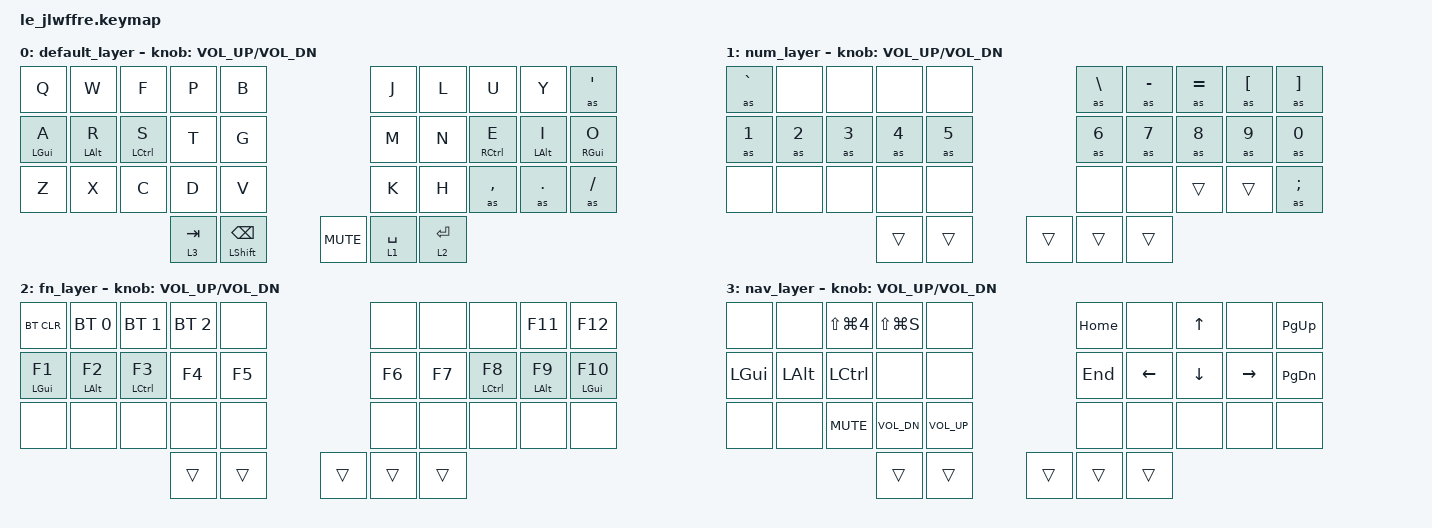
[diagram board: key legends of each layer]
/*
 * Copyright (c) 2022 The ZMK Contributors
 *
 * SPDX-License-Identifier: MIT
 */

#include <behaviors.dtsi>
#include <dt-bindings/zmk/keys.h>
#include <dt-bindings/zmk/bt.h>

/ {
    behaviors {
        ht: hold_tap {
            compatible = "zmk,behavior-hold-tap";
            #binding-cells = <2>;
            flavor = "balanced";
            tapping-term-ms = <200>;
            quick-tap-ms = <220>;
            require-prior-idle-ms = <125>;
            bindings = <&kp>, <&kp>;
        };
        mt: mod_tap {
            #binding-cells = <2>;
            tapping-term-ms = <200>;
            quick-tap-ms = <220>;
            require-prior-idle-ms = <125>;
            bindings = <&kp>, <&kp>;
        };
        as_ht: autoshift_hold_tap {
            compatible = "zmk,behavior-hold-tap";
            #binding-cells = <2>;
            tapping-term-ms = <200>;
            bindings = <&shifted>, <&kp>;
            /*bindings = <&kp>, <&kp>;*/
            flavor = "tap-preferred";
        };

        combos {
            compatible = "zmk,combos";
            combo_esc {
                timeout-ms = <50>;
                key-positions = <0 1>;
                bindings = <&kp ESC>;
            };
            combo_del {
                timeout-ms = <50>;
                key-positions = <8 9>;
                bindings = <&kp DEL>;
            };
            combo_reset {
                timeout-ms = <50>;
                key-positions = <0 9>;
                layers = <2>;
                bindings = <&sys_reset>;
            };
            combo_boot {
                timeout-ms = <50>;
                key-positions = <5 20>;
                layers = <2>;
                bindings = <&bootloader>;
            };
        };
    };

    macros {
        shifted: macro_shifted_kp {
            #binding-cells = <1>;
            compatible = "zmk,behavior-macro-one-param";
            bindings =
              <&macro_press &kp LSHFT>,
              <&macro_param_1to1 &macro_tap &kp MACRO_PLACEHOLDER>,
              <&macro_release &kp LSHFT>;
        };
        as: autoshift {
            compatible = "zmk,behavior-macro-one-param";
            #binding-cells = <1>;
            bindings =
              <&macro_press>,
              <&macro_param_1to1>,
              <&macro_param_1to2>,
              <&as_ht MACRO_PLACEHOLDER MACRO_PLACEHOLDER>,
              <&macro_pause_for_release>,
              <&macro_release>,
              <&macro_param_1to1>,
              <&macro_param_1to2>,
              <&as_ht MACRO_PLACEHOLDER MACRO_PLACEHOLDER>;
        };
    };

    keymap {
        compatible = "zmk,keymap";
        default_layer {
            bindings = <
        //╭──────────┬──────────┬──────────┬──────────┬──────────╮                      ╭──────────┬──────────┬──────────┬──────────┬──────────╮
        //│  Q       │  W       │  F       │  P       │  B       │                      │  J       │  L       │  U       │  Y       │ ' "      │
            &kp Q      &kp W      &kp F      &kp P      &kp B                             &kp J      &kp L      &kp U      &kp Y      &as SQT
        //├──────────┼──────────┼──────────┼──────────┼──────────┤                      ├──────────┼──────────┼──────────┼──────────┼──────────┤
        //│  A       │  R       │  S       │  T       │  G       │                      │  M       │  N       │  E       │  I       │ O        │
           &ht LGUI A &ht LALT R &ht LCTRL S &kp T     &kp G                             &kp M      &kp N     &ht RCTRL E &ht LALT I &ht RGUI O
        //├──────────┼──────────┼──────────┼──────────┼──────────┤                      ├──────────┼──────────┼──────────┼──────────┼──────────┤
        //│  Z       │  X       │  C       │  D       │  V       │                      │  K       │  H       │ , <      │ . >      │ / ?      │
            &kp Z      &kp X      &kp C      &kp D      &kp V                             &kp K      &kp H      &as COMMA  &as DOT    &as FSLH
        //╰──────────┴──────────┴──────────┼──────────┼──────────┤                      ├──────────┼──────────┼──────────┴──────────┴──────────╯
                                            &lt 3 TAB  &mt LSHIFT BSPC   &kp C_MUTE      &lt 1 SPACE &lt 2 RET
        //                                 ╰──────────┴──────────╯                      ╰──────────┴──────────╯
            >;
            sensor-bindings = <&inc_dec_kp C_VOL_UP C_VOL_DN>;
        };

        num_layer {
            bindings = <
        //╭──────────┬──────────┬──────────┬──────────┬──────────╮      ╭──────────┬──────────┬──────────┬──────────┬──────────╮
        //│  ` ~     │          │          │          │          │      │  \ |     │  - _     │  = +     │  [       │  ]       │
            &as GRAVE  &none      &none      &none      &none             &as BSLH   &as MINUS  &as EQUAL  &as LBKT   &as RBKT
        //├──────────┼──────────┼──────────┼──────────┼──────────┤      ├──────────┼──────────┼──────────┼──────────┼──────────┤
        //│  1 !     │  2 @     │  3 #     │  4 $     │  5 %     │      │  6 ^     │  7 &     │  8 *     │  9 (     │  0 )     │
            &as N1     &as N2     &as N3     &as N4     &as N5            &as N6     &as N7     &as N8     &as N9     &as N0
        //├──────────┼──────────┼──────────┼──────────┼──────────┤      ├──────────┼──────────┼──────────┼──────────┼──────────┤
        //│          │          │          │          │          │      │          │          │          │          │          │
            &none      &none      &none      &none      &none             &none      &none      &trans     &trans     &as SEMI
        //╰──────────┴──────────┴──────────┼──────────┼──────────┤      ├──────────┼──────────┼──────────┴──────────┴──────────╯
                                             &trans     &trans    &trans  &trans     &trans
        //                                 ╰──────────┴──────────╯      ╰──────────┴──────────╯
            >;
            sensor-bindings = <&inc_dec_kp C_VOL_UP C_VOL_DN>;
        };

        fn_layer {
            bindings = <
        //╭──────────┬──────────┬──────────┬──────────┬──────────╮      ╭──────────┬──────────┬──────────┬──────────┬──────────╮
        //│          │          │          │          │          │      │          │          │          │  F11     │  F12     │
            &bt BT_CLR  &bt BT_SEL 0 &bt BT_SEL 1 &bt BT_SEL 2 &none      &none      &none      &none      &kp F11    &kp F12
        //├──────────┼──────────┼──────────┼──────────┼──────────┤      ├──────────┼──────────┼──────────┼──────────┼──────────┤
        //│  F1      │  F2      │  F3      │  F4      │  F5      │      │  F6      │  F7      │  F8      │  F9      │  F10     │
            &ht LGUI F1   &ht LALT F2       &ht LCTRL F3       &kp F4     &kp F5            &kp F6     &kp F7     &ht LCTRL F8  &ht LALT F9  &ht LGUI F10
        //├──────────┼──────────┼──────────┼──────────┼──────────┤      ├──────────┼──────────┼──────────┼──────────┼──────────┤
        //│          │          │          │          │          │      │          │          │          │          │          │
            &none      &none      &none      &none      &none             &none      &none      &none      &none      &none
        //╰──────────┴──────────┴──────────┼──────────┼──────────┤      ├──────────┼──────────┼──────────┴──────────┴──────────╯
                                             &trans     &trans    &trans  &trans     &trans
        //                                 ╰──────────┴──────────╯      ╰──────────┴──────────╯
            >;
            sensor-bindings = <&inc_dec_kp C_VOL_UP C_VOL_DN>;
        };

        nav_layer {
            bindings = <
        //╭──────────┬──────────┬──────────┬──────────┬──────────╮      ╭──────────┬──────────┬──────────┬──────────┬──────────╮
        //│          │          │          │          │          │      │  HOME    │          │  UP      │          │  PG_UP   │
            &none      &none  &kp LS(LG(N4)) &kp LS(LG(S)) &none         &kp HOME   &none      &kp UP     &none      &kp PG_UP
        //├──────────┼──────────┼──────────┼──────────┼──────────┤      ├──────────┼──────────┼──────────┼──────────┼──────────┤
        //│  LGUI    │  LALT    │  LCTRL   │          │          │      │  END     │  LEFT    │  DOWN    │  RIGHT   │  PG_DN   │
            &kp LGUI   &kp LALT   &kp LCTRL  &none      &none             &kp END    &kp LEFT   &kp DOWN  &kp RIGHT  &kp PG_DN
        //├──────────┼──────────┼──────────┼──────────┼──────────┤      ├──────────┼──────────┼──────────┼──────────┼──────────┤
        //│          │          │          │          │          │      │          │          │          │          │          │
            &none      &none      &kp C_MUTE &kp C_VOL_DN &kp C_VOL_UP    &none      &none      &none      &none      &none
        //╰──────────┴──────────┴──────────┼──────────┼──────────┤      ├──────────┼──────────┼──────────┴──────────┴──────────╯
                                             &trans     &trans    &trans  &trans     &trans
        //                                 ╰──────────┴──────────╯      ╰──────────┴──────────╯
            >;
            sensor-bindings = <&inc_dec_kp C_VOL_UP C_VOL_DN>;
        };

    };

};
